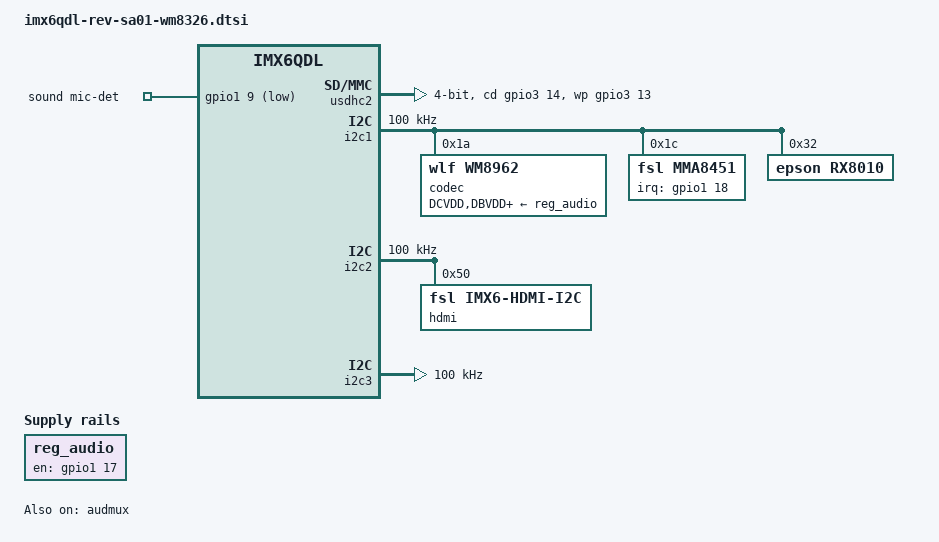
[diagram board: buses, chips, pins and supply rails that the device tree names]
/*
 * Copyright 2012-2015 Freescale Semiconductor, Inc.
 * Copyright 2011 Linaro Ltd.
 *
 * The code contained herein is licensed under the GNU General Public
 * License. You may obtain a copy of the GNU General Public License
 * Version 2 or later at the following locations:
 *
 * http://www.opensource.org/licenses/gpl-license.html
 * http://www.gnu.org/copyleft/gpl.html
 */

#include <dt-bindings/gpio/gpio.h>
#include <dt-bindings/input/input.h>

/ {
	regulators {
		reg_audio: wm8962_supply {
			compatible = "regulator-fixed";
			regulator-name = "wm8962-supply";
			gpio = <&gpio1 17 0>;
			enable-active-high;
		};
	};

	sound {
		compatible =	"fsl,imx6q-sabresd-wm8962",
				"fsl,imx-audio-wm8962";
		model = "wm8962-audio";
		cpu-dai = <&ssi2>;
		audio-codec = <&codec>;
		asrc-controller = <&asrc>;
		audio-routing =
			"Headphone Jack", "HPOUTL",
			"Headphone Jack", "HPOUTR",
			"Ext Spk", "SPKOUTL",
			"Ext Spk", "SPKOUTR",
			"AMIC", "MICBIAS",
			"IN3R", "AMIC",
			"DMIC", "MICBIAS",
			"DMICDAT", "DMIC",
			"CPU-Playback", "ASRC-Playback",
			"Playback", "CPU-Playback",
			"ASRC-Capture", "CPU-Capture",
			"CPU-Capture", "Capture";
		mux-int-port = <2>;
		mux-ext-port = <3>;
		mic-det-gpios = <&gpio1 9 1>;
	};
};

&audmux {
	pinctrl-names = "default";
	pinctrl-0 = <&pinctrl_audmux>;
	status = "okay";
};

&usdhc2 {
	pinctrl-names = "default";
	pinctrl-0 = <&pinctrl_usdhc2>;
	bus-width = <4>;
	cd-gpios = <&gpio3 14 0>;
	wp-gpios = <&gpio3 13 0>;
	no-1-8-v;
	keep-power-in-suspend;
	enable-sdio-wakeup;
	status = "okay";
};

&i2c1 {
	clock-frequency = <100000>;
	pinctrl-names = "default";
	pinctrl-0 = <&pinctrl_i2c1>;
	status = "okay";

	codec: wm8962@1a {
		compatible = "wlf,wm8962";
		reg = <0x1a>;
		clocks = <&clks 201>;
		DCVDD-supply = <&reg_audio>;
		DBVDD-supply = <&reg_audio>;
		AVDD-supply = <&reg_audio>;
		CPVDD-supply = <&reg_audio>;
		MICVDD-supply = <&reg_audio>;
		PLLVDD-supply = <&reg_audio>;
		SPKVDD1-supply = <&reg_audio>;
		SPKVDD2-supply = <&reg_audio>;
		gpio-cfg = <
			0x0000 /* 0:Default */
			0x0000 /* 1:Default */
			0x0013 /* 2:FN_DMICCLK */
			0x0000 /* 3:Default */
			0x8014 /* 4:FN_DMICCDAT */
			0x0000 /* 5:Default */
		>;
		amic-mono;
       };

	mma8451@1c {
		compatible = "fsl,mma8451";
		reg = <0x1c>;
		position = <0>;
		interrupt-parent = <&gpio1>;
		interrupts = <18 8>;
		interrupt-route = <1>;
	};

	rx8010@32 {
		compatible = "epson,rx8010";
		reg = <0x32>;
	};
};

&i2c2 {
	clock-frequency = <100000>;
	pinctrl-names = "default";
	pinctrl-0 = <&pinctrl_i2c2>;
	status = "okay";

	hdmi: edid@50 {
		compatible = "fsl,imx6-hdmi-i2c";
		reg = <0x50>;
	};
};

&i2c3 {
        clock-frequency = <100000>;
        pinctrl-names = "default";
        pinctrl-0 = <&pinctrl_i2c3>;
        status = "okay";
};
